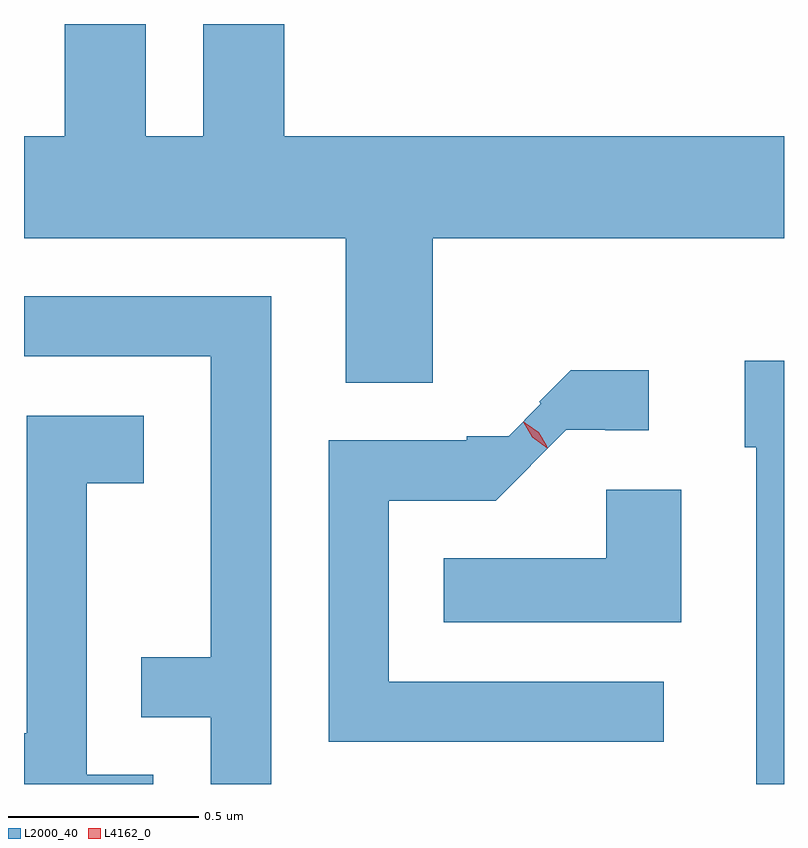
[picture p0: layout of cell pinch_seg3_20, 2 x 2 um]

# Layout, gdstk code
import gdstk
lib = gdstk.Library(unit=1e-6, precision=1e-09)
def P(c, l, *ps):  # polygons
    for p in ps: c.add(gdstk.Polygon(p, *l))
L2000_40 = (2000, 40)
L4162_0 = (4162, 0)

pinch_seg3_20 = lib.new_cell('pinch_seg3_20')
P(pinch_seg3_20, L2000_40, [(825.851,1192.236),(826.079,1192.236),(826.079,1192.616),(827.004,1192.616),(827.004,1192.884),(825.689,1192.884),(825.689,1193.18),(825.476,1193.18),(825.476,1192.884),(825.324,1192.884),(825.324,1193.18),(825.111,1193.18),(825.111,1192.884),(825.004,1192.884),(825.004,1192.616),(825.851,1192.616)],
  [(825.654,1192.464),(825.004,1192.464),(825.004,1192.306),(825.496,1192.306),(825.496,1191.514),(825.313,1191.514),(825.313,1191.356),(825.496,1191.356),(825.496,1191.18),(825.654,1191.18)],
  [(827.004,1192.294),(826.901,1192.294),(826.901,1192.066),(826.931,1192.066),(826.931,1191.18),(827.004,1191.18)],
  [(826.688,1191.449),(825.964,1191.449),(825.964,1191.926),(826.245,1191.926),(826.431,1192.112),(826.533,1192.112),(826.533,1192.111),(826.648,1192.111),(826.648,1192.269),(826.443,1192.269),(826.36,1192.186),(826.364,1192.181),(826.279,1192.095),(826.169,1192.095),(826.169,1192.084),(825.806,1192.084),(825.806,1191.291),(826.688,1191.291)],
  [(825.344,1191.204),(825.169,1191.204),(825.169,1191.971),(825.319,1191.971),(825.319,1192.149),(825.011,1192.149),(825.011,1191.314),(825.004,1191.314),(825.004,1191.18),(825.344,1191.18)],
  [(826.734,1191.954),(826.536,1191.954),(826.536,1191.774),(826.108,1191.774),(826.108,1191.606),(826.734,1191.606)])
P(pinch_seg3_20, L4162_0, [(826.381,1192.064),(826.342,1192.092),(826.318,1192.133),(826.318,1192.133),(826.319,1192.133),(826.357,1192.105),(826.382,1192.064),(826.382,1192.064)],
  [(826.378,1192.069),(826.344,1192.093),(826.323,1192.13),(826.323,1192.13),(826.324,1192.13),(826.358,1192.106),(826.379,1192.07),(826.379,1192.069)])

lib.write_gds('pinch_seg3_20.gds')
